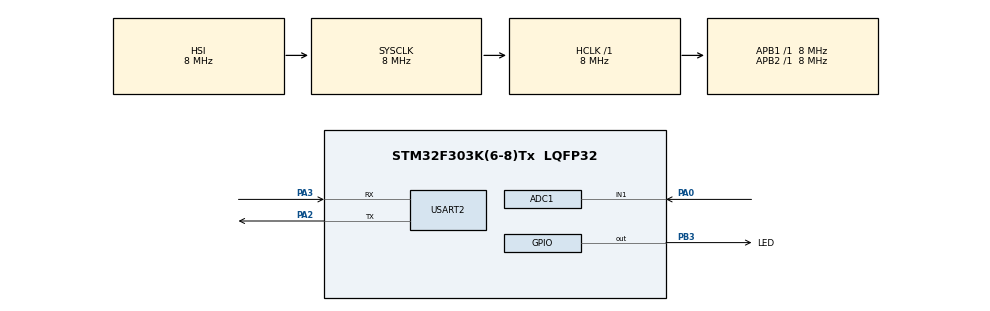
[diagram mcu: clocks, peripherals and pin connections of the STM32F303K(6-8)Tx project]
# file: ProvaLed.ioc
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ADC1.Channel-1\#ChannelRegularConversion=ADC_CHANNEL_1
ADC1.NbrOfConversionFlag=1
ADC1.Offset-1\#ChannelRegularConversion=0
ADC1.OffsetNumber-1\#ChannelRegularConversion=ADC_OFFSET_NONE
ADC1.Rank-1\#ChannelRegularConversion=1
ADC1.SamplingTime-1\#ChannelRegularConversion=ADC_SAMPLETIME_1CYCLE_5
ADC1.SamplingTimeOPAMP-1\#ChannelRegularConversion=ADC_SAMPLETIME_7CYCLES_5
ADC1.master=1
Mcu.Family=STM32F3
Mcu.Name=STM32F303K(6-8)Tx
Mcu.Package=LQFP32
NVIC.PriorityGroup=NVIC_PRIORITYGROUP_4
PA0.Mode=IN1-Single-Ended
PA0.Signal=ADC1_IN1
PA13.GPIO_Label=SWDIO
PA13.Mode=Serial_Wire
PA13.Signal=SYS_JTMS-SWDIO
PA14.GPIO_Label=SWCLK
PA14.Mode=Serial_Wire
PA14.Signal=SYS_JTCK-SWCLK
PA2.Mode=Asynchronous
PA2.Signal=USART2_TX
PA3.Mode=Asynchronous
PA3.Signal=USART2_RX
PB3.GPIO_Label=LED
PB3.Signal=GPIO_Output
ProjectManager.HeapSize=0x200
ProjectManager.StackSize=0x400
ProjectManager.TargetToolchain=STM32CubeIDE
RCC.AHBFreq_Value=8000000
RCC.APB1Freq_Value=8000000
RCC.APB1TimFreq_Value=8000000
RCC.APB2Freq_Value=8000000
RCC.APB2TimFreq_Value=8000000
RCC.CortexFreq_Value=8000000
RCC.HCLKFreq_Value=8000000
RCC.HSE_VALUE=8000000
RCC.HSI_VALUE=8000000
RCC.PLLMUL=RCC_PLL_MUL4
RCC.SYSCLKFreq_VALUE=8000000
USART2.VirtualMode-Asynchronous=VM_ASYNC
board=NUCLEO-F303K8

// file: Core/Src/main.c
/* USER CODE BEGIN Header */
/**
  ******************************************************************************
  * @file           : main.c
  * @brief          : Main program body
  ******************************************************************************
  * @attention
  *
  * <h2><center>&copy; Copyright (c) 2021 STMicroelectronics.
  * All rights reserved.</center></h2>
  *
  * This software component is licensed by ST under BSD 3-Clause license,
  * the "License"; You may not use this file except in compliance with the
  * License. You may obtain a copy of the License at:
  *                        opensource.org/licenses/BSD-3-Clause
  *
  ******************************************************************************
  */
/* USER CODE END Header */
#include "main.h"

/* USER CODE BEGIN Includes */
#include <stdio.h>
#include <string.h>
/* USER CODE END Includes */

ADC_HandleTypeDef hadc1;

UART_HandleTypeDef huart2;

/* USER CODE BEGIN PV */
// scrivere qui eventuali variabili globali
/* USER CODE END PV */

void SystemClock_Config(void);
static void MX_GPIO_Init(void);
static void MX_ADC1_Init(void);
static void MX_USART2_UART_Init(void);

int main(void)
{
  /* USER CODE BEGIN 1 */
	uint16_t raw;
	char msg[10];
  /* USER CODE END 1 */

  /* MCU Configuration--------------------------------------------------------*/

  /* Reset of all peripherals, Initializes the Flash interface and the Systick. */
  HAL_Init();

  /* Configure the system clock */
  SystemClock_Config();

  /* Initialize all configured peripherals */
  MX_GPIO_Init();
  MX_ADC1_Init();
  MX_USART2_UART_Init();

  /* Infinite loop */
  /* USER CODE BEGIN WHILE */
  while (1)
  {
	  HAL_ADC_Start(&hadc1);
	  HAL_ADC_PollForConversion(&hadc1, HAL_MAX_DELAY);
	  raw = HAL_ADC_GetValue(&hadc1);

	  sprintf(msg, "%hu\r\n", raw);

	  int potVal = atoi(msg);

	  HAL_UART_Transmit(&huart2, (uint8_t*)msg, strlen(msg), HAL_MAX_DELAY);

	  if (potVal > 100) {
		  HAL_GPIO_WritePin(LED_GPIO_Port, LED_Pin, 1);
	  } else {
		  HAL_GPIO_WritePin(LED_GPIO_Port, LED_Pin, 0);
	  }

	  HAL_Delay(500);

    /* USER CODE END WHILE */

    /* USER CODE BEGIN 3 */

	  /*
	   * Leggere valore potenziometro
	   * exti_input (external interrupt)
	   * Servo
	   * studiare canbus
	  */
  }
  /* USER CODE END 3 */
}

void SystemClock_Config(void)
{
  RCC_OscInitTypeDef RCC_OscInitStruct = {0};
  RCC_ClkInitTypeDef RCC_ClkInitStruct = {0};
  RCC_PeriphCLKInitTypeDef PeriphClkInit = {0};

  /** Initializes the RCC Oscillators according to the specified parameters
  * in the RCC_OscInitTypeDef structure.
  */
  RCC_OscInitStruct.OscillatorType = RCC_OSCILLATORTYPE_HSI;
  RCC_OscInitStruct.HSIState = RCC_HSI_ON;
  RCC_OscInitStruct.HSICalibrationValue = RCC_HSICALIBRATION_DEFAULT;
  RCC_OscInitStruct.PLL.PLLState = RCC_PLL_ON;
  RCC_OscInitStruct.PLL.PLLSource = RCC_PLLSOURCE_HSI;
  RCC_OscInitStruct.PLL.PLLMUL = RCC_PLL_MUL4;
  if (HAL_RCC_OscConfig(&RCC_OscInitStruct) != HAL_OK)
  {
    Error_Handler();
  }
  /** Initializes the CPU, AHB and APB buses clocks
  */
  RCC_ClkInitStruct.ClockType = RCC_CLOCKTYPE_HCLK|RCC_CLOCKTYPE_SYSCLK
                              |RCC_CLOCKTYPE_PCLK1|RCC_CLOCKTYPE_PCLK2;
  RCC_ClkInitStruct.SYSCLKSource = RCC_SYSCLKSOURCE_HSI;
  RCC_ClkInitStruct.AHBCLKDivider = RCC_SYSCLK_DIV1;
  RCC_ClkInitStruct.APB1CLKDivider = RCC_HCLK_DIV1;
  RCC_ClkInitStruct.APB2CLKDivider = RCC_HCLK_DIV1;

  if (HAL_RCC_ClockConfig(&RCC_ClkInitStruct, FLASH_LATENCY_0) != HAL_OK)
  {
    Error_Handler();
  }
  PeriphClkInit.PeriphClockSelection = RCC_PERIPHCLK_ADC12;
  PeriphClkInit.Adc12ClockSelection = RCC_ADC12PLLCLK_DIV1;
  if (HAL_RCCEx_PeriphCLKConfig(&PeriphClkInit) != HAL_OK)
  {
    Error_Handler();
  }
}

static void MX_ADC1_Init(void)
{

  ADC_MultiModeTypeDef multimode = {0};
  ADC_ChannelConfTypeDef sConfig = {0};

  /** Common config
  */
  hadc1.Instance = ADC1;
  hadc1.Init.ClockPrescaler = ADC_CLOCK_ASYNC_DIV1;
  hadc1.Init.Resolution = ADC_RESOLUTION_12B;
  hadc1.Init.ScanConvMode = ADC_SCAN_DISABLE;
  hadc1.Init.ContinuousConvMode = DISABLE;
  hadc1.Init.DiscontinuousConvMode = DISABLE;
  hadc1.Init.ExternalTrigConvEdge = ADC_EXTERNALTRIGCONVEDGE_NONE;
  hadc1.Init.ExternalTrigConv = ADC_SOFTWARE_START;
  hadc1.Init.DataAlign = ADC_DATAALIGN_RIGHT;
  hadc1.Init.NbrOfConversion = 1;
  hadc1.Init.DMAContinuousRequests = DISABLE;
  hadc1.Init.EOCSelection = ADC_EOC_SINGLE_CONV;
  hadc1.Init.LowPowerAutoWait = DISABLE;
  hadc1.Init.Overrun = ADC_OVR_DATA_OVERWRITTEN;
  if (HAL_ADC_Init(&hadc1) != HAL_OK)
  {
    Error_Handler();
  }
  /** Configure the ADC multi-mode
  */
  multimode.Mode = ADC_MODE_INDEPENDENT;
  if (HAL_ADCEx_MultiModeConfigChannel(&hadc1, &multimode) != HAL_OK)
  {
    Error_Handler();
  }
  /** Configure Regular Channel
  */
  sConfig.Channel = ADC_CHANNEL_1;
  sConfig.Rank = ADC_REGULAR_RANK_1;
  sConfig.SingleDiff = ADC_SINGLE_ENDED;
  sConfig.SamplingTime = ADC_SAMPLETIME_1CYCLE_5;
  sConfig.OffsetNumber = ADC_OFFSET_NONE;
  sConfig.Offset = 0;
  if (HAL_ADC_ConfigChannel(&hadc1, &sConfig) != HAL_OK)
  {
    Error_Handler();
  }

}

static void MX_USART2_UART_Init(void)
{

  huart2.Instance = USART2;
  huart2.Init.BaudRate = 38400;
  huart2.Init.WordLength = UART_WORDLENGTH_8B;
  huart2.Init.StopBits = UART_STOPBITS_1;
  huart2.Init.Parity = UART_PARITY_NONE;
  huart2.Init.Mode = UART_MODE_TX_RX;
  huart2.Init.HwFlowCtl = UART_HWCONTROL_NONE;
  huart2.Init.OverSampling = UART_OVERSAMPLING_16;
  huart2.Init.OneBitSampling = UART_ONE_BIT_SAMPLE_DISABLE;
  huart2.AdvancedInit.AdvFeatureInit = UART_ADVFEATURE_NO_INIT;
  if (HAL_UART_Init(&huart2) != HAL_OK)
  {
    Error_Handler();
  }

}

static void MX_GPIO_Init(void)
{
  GPIO_InitTypeDef GPIO_InitStruct = {0};

  /* GPIO Ports Clock Enable */
  __HAL_RCC_GPIOA_CLK_ENABLE();
  __HAL_RCC_GPIOB_CLK_ENABLE();

  /*Configure GPIO pin Output Level */
  HAL_GPIO_WritePin(LED_GPIO_Port, LED_Pin, GPIO_PIN_RESET);

  /*Configure GPIO pin : LED_Pin */
  GPIO_InitStruct.Pin = LED_Pin;
  GPIO_InitStruct.Mode = GPIO_MODE_OUTPUT_PP;
  GPIO_InitStruct.Pull = GPIO_NOPULL;
  GPIO_InitStruct.Speed = GPIO_SPEED_FREQ_LOW;
  HAL_GPIO_Init(LED_GPIO_Port, &GPIO_InitStruct);

}

void Error_Handler(void)
{
}

/************************ (C) COPYRIGHT STMicroelectronics *****END OF FILE****/
